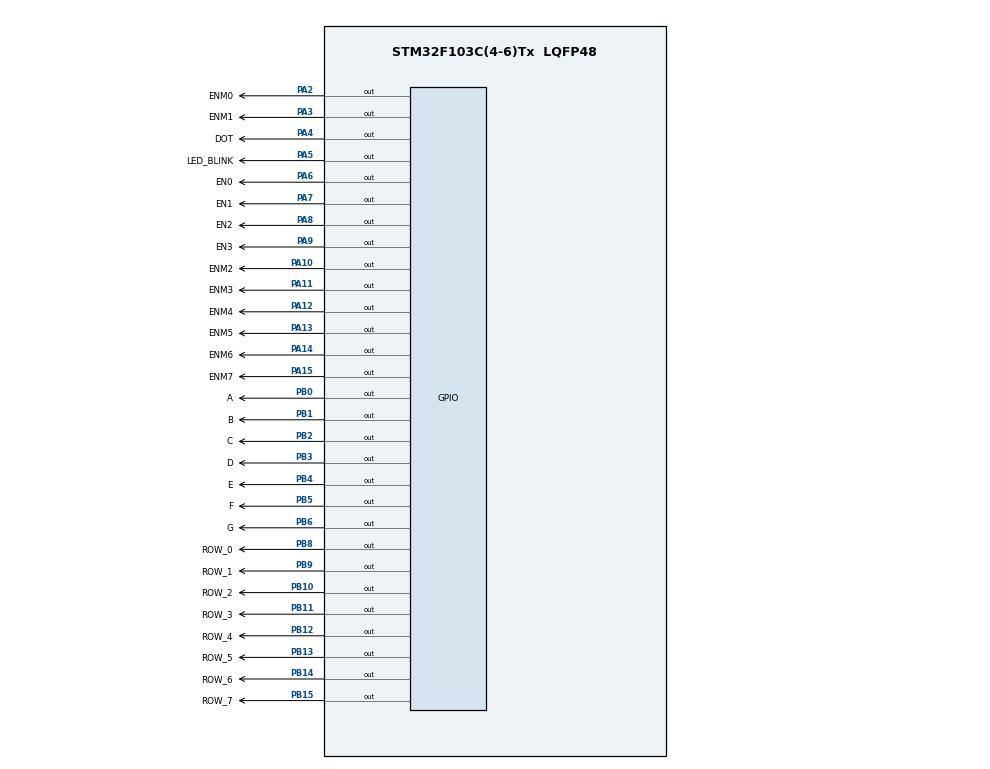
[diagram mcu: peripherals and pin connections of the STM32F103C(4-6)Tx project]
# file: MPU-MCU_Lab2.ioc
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Mcu.Family=STM32F1
Mcu.Name=STM32F103C(4-6)Tx
Mcu.Package=LQFP48
NVIC.PriorityGroup=NVIC_PRIORITYGROUP_4
NVIC.TIM2_IRQn=true\:0\:0\:false\:false\:true\:true\:true
PA10.GPIO_Label=ENM2
PA10.Signal=GPIO_Output
PA11.GPIO_Label=ENM3
PA11.Signal=GPIO_Output
PA12.GPIO_Label=ENM4
PA12.Signal=GPIO_Output
PA13.GPIO_Label=ENM5
PA13.Signal=GPIO_Output
PA14.GPIO_Label=ENM6
PA14.Signal=GPIO_Output
PA15.GPIO_Label=ENM7
PA15.Signal=GPIO_Output
PA2.GPIO_Label=ENM0
PA2.Signal=GPIO_Output
PA3.GPIO_Label=ENM1
PA3.Signal=GPIO_Output
PA4.GPIO_Label=DOT
PA4.Signal=GPIO_Output
PA5.GPIO_Label=LED_BLINK
PA5.Signal=GPIO_Output
PA6.GPIO_Label=EN0
PA6.Signal=GPIO_Output
PA7.GPIO_Label=EN1
PA7.Signal=GPIO_Output
PA8.GPIO_Label=EN2
PA8.Signal=GPIO_Output
PA9.GPIO_Label=EN3
PA9.Signal=GPIO_Output
PB0.GPIO_Label=A
PB0.Signal=GPIO_Output
PB1.GPIO_Label=B
PB1.Signal=GPIO_Output
PB10.GPIO_Label=ROW_2
PB10.Signal=GPIO_Output
PB11.GPIO_Label=ROW_3
PB11.Signal=GPIO_Output
PB12.GPIO_Label=ROW_4
PB12.Signal=GPIO_Output
PB13.GPIO_Label=ROW_5
PB13.Signal=GPIO_Output
PB14.GPIO_Label=ROW_6
PB14.Signal=GPIO_Output
PB15.GPIO_Label=ROW_7
PB15.Signal=GPIO_Output
PB2.GPIO_Label=C
PB2.Signal=GPIO_Output
PB3.GPIO_Label=D
PB3.Signal=GPIO_Output
PB4.GPIO_Label=E
PB4.Signal=GPIO_Output
PB5.GPIO_Label=F
PB5.Signal=GPIO_Output
PB6.GPIO_Label=G
PB6.Signal=GPIO_Output
PB8.GPIO_Label=ROW_0
PB8.Signal=GPIO_Output
PB9.GPIO_Label=ROW_1
PB9.Signal=GPIO_Output
ProjectManager.HeapSize=0x200
ProjectManager.StackSize=0x400
ProjectManager.TargetToolchain=STM32CubeIDE
RCC.APB1Freq_Value=8000000
RCC.APB2Freq_Value=8000000
TIM2.Period=9
TIM2.Prescaler=7999
VP_SYS_VS_ND.Mode=No_Debug
VP_TIM2_VS_ClockSourceINT.Mode=Internal
board=custom

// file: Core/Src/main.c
/* USER CODE BEGIN Header */
/**
  ******************************************************************************
  * @file           : main.c
  * @brief          : Main program body
  ******************************************************************************
  * @attention
  *
  * <h2><center>&copy; Copyright (c) 2025 STMicroelectronics.
  * All rights reserved.</center></h2>
  *
  * This software component is licensed by ST under BSD 3-Clause license,
  * the "License"; You may not use this file except in compliance with the
  * License. You may obtain a copy of the License at:
  *                        opensource.org/licenses/BSD-3-Clause
  *
  ******************************************************************************
  */
/* USER CODE END Header */
#include "main.h"

/* USER CODE BEGIN Includes */
#include "software_timer.h"
/* USER CODE END Includes */

TIM_HandleTypeDef htim2;

/* USER CODE BEGIN PV */
int hour = 15, minute = 8, second = 55;
int index_led = 0;
const int MAX_LED = 4;
int  led_buffer[4] = {1,2,3,4};

const int MAX_LED_MATRIX = 8;
const int SIZEOF_MATRIX_BUFFER = 12;
int index_led_matrix = 0;
uint8_t matrix_buffer[12] = { 0x18, 0x24, 0x42, 0x42, 0x7E, 0x42, 0x42, 0x42, 0x00, 0x00, 0x00, 0x00 };
/* USER CODE END PV */

void SystemClock_Config(void);
static void MX_GPIO_Init(void);
static void MX_TIM2_Init(void);

/* USER CODE BEGIN 0 */
void updateClockBuffer(){
	led_buffer[0] = hour / 10;
	led_buffer[1] = hour % 10;
	led_buffer[2] = minute / 10;
	led_buffer[3] = minute % 10;
}

void updateClockTime(){
	if (second >= 60){
		second = 0;
		minute++;
	}
	if (minute >= 60){
		minute = 0;
		hour++;
	}
	if (hour >= 24){
		hour = 0;
	}
}

void display7SEG(int num){
    switch(num){
    case 0:
        HAL_GPIO_WritePin(GPIOB, A_Pin, GPIO_PIN_RESET);
        HAL_GPIO_WritePin(GPIOB, B_Pin, GPIO_PIN_RESET);
        HAL_GPIO_WritePin(GPIOB, C_Pin, GPIO_PIN_RESET);
        HAL_GPIO_WritePin(GPIOB, D_Pin, GPIO_PIN_RESET);
        HAL_GPIO_WritePin(GPIOB, E_Pin, GPIO_PIN_RESET);
        HAL_GPIO_WritePin(GPIOB, F_Pin, GPIO_PIN_RESET);
        HAL_GPIO_WritePin(GPIOB, G_Pin, GPIO_PIN_SET);
        break;
    case 1:
        HAL_GPIO_WritePin(GPIOB, B_Pin, GPIO_PIN_RESET);
        HAL_GPIO_WritePin(GPIOB, C_Pin, GPIO_PIN_RESET);
        HAL_GPIO_WritePin(GPIOB, A_Pin, GPIO_PIN_SET);
        HAL_GPIO_WritePin(GPIOB, D_Pin, GPIO_PIN_SET);
        HAL_GPIO_WritePin(GPIOB, E_Pin, GPIO_PIN_SET);
        HAL_GPIO_WritePin(GPIOB, F_Pin, GPIO_PIN_SET);
        HAL_GPIO_WritePin(GPIOB, G_Pin, GPIO_PIN_SET);
        break;
    case 2:
        HAL_GPIO_WritePin(GPIOB, A_Pin, GPIO_PIN_RESET);
        HAL_GPIO_WritePin(GPIOB, B_Pin, GPIO_PIN_RESET);
        HAL_GPIO_WritePin(GPIOB, D_Pin, GPIO_PIN_RESET);
        HAL_GPIO_WritePin(GPIOB, E_Pin, GPIO_PIN_RESET);
        HAL_GPIO_WritePin(GPIOB, G_Pin, GPIO_PIN_RESET);
        HAL_GPIO_WritePin(GPIOB, C_Pin, GPIO_PIN_SET);
        HAL_GPIO_WritePin(GPIOB, F_Pin, GPIO_PIN_SET);
        break;
    case 3:
        HAL_GPIO_WritePin(GPIOB, A_Pin, GPIO_PIN_RESET);
        HAL_GPIO_WritePin(GPIOB, B_Pin, GPIO_PIN_RESET);
        HAL_GPIO_WritePin(GPIOB, C_Pin, GPIO_PIN_RESET);
        HAL_GPIO_WritePin(GPIOB, D_Pin, GPIO_PIN_RESET);
        HAL_GPIO_WritePin(GPIOB, G_Pin, GPIO_PIN_RESET);
        HAL_GPIO_WritePin(GPIOB, E_Pin, GPIO_PIN_SET);
        HAL_GPIO_WritePin(GPIOB, F_Pin, GPIO_PIN_SET);
        break;
    case 4:
        HAL_GPIO_WritePin(GPIOB, B_Pin, GPIO_PIN_RESET);
        HAL_GPIO_WritePin(GPIOB, C_Pin, GPIO_PIN_RESET);
        HAL_GPIO_WritePin(GPIOB, F_Pin, GPIO_PIN_RESET);
        HAL_GPIO_WritePin(GPIOB, G_Pin, GPIO_PIN_RESET);
        HAL_GPIO_WritePin(GPIOB, A_Pin, GPIO_PIN_SET);
        HAL_GPIO_WritePin(GPIOB, D_Pin, GPIO_PIN_SET);
        HAL_GPIO_WritePin(GPIOB, E_Pin, GPIO_PIN_SET);
        break;
    case 5:
        HAL_GPIO_WritePin(GPIOB, A_Pin, GPIO_PIN_RESET);
        HAL_GPIO_WritePin(GPIOB, C_Pin, GPIO_PIN_RESET);
        HAL_GPIO_WritePin(GPIOB, D_Pin, GPIO_PIN_RESET);
        HAL_GPIO_WritePin(GPIOB, F_Pin, GPIO_PIN_RESET);
        HAL_GPIO_WritePin(GPIOB, G_Pin, GPIO_PIN_RESET);
        HAL_GPIO_WritePin(GPIOB, B_Pin, GPIO_PIN_SET);
        HAL_GPIO_WritePin(GPIOB, E_Pin, GPIO_PIN_SET);
        break;
    case 6:
        HAL_GPIO_WritePin(GPIOB, A_Pin, GPIO_PIN_RESET);
        HAL_GPIO_WritePin(GPIOB, C_Pin, GPIO_PIN_RESET);
        HAL_GPIO_WritePin(GPIOB, D_Pin, GPIO_PIN_RESET);
        HAL_GPIO_WritePin(GPIOB, E_Pin, GPIO_PIN_RESET);
        HAL_GPIO_WritePin(GPIOB, F_Pin, GPIO_PIN_RESET);
        HAL_GPIO_WritePin(GPIOB, G_Pin, GPIO_PIN_RESET);
        HAL_GPIO_WritePin(GPIOB, B_Pin, GPIO_PIN_SET);
        break;
    case 7:
        HAL_GPIO_WritePin(GPIOB, A_Pin, GPIO_PIN_RESET);
        HAL_GPIO_WritePin(GPIOB, B_Pin, GPIO_PIN_RESET);
        HAL_GPIO_WritePin(GPIOB, C_Pin, GPIO_PIN_RESET);
        HAL_GPIO_WritePin(GPIOB, D_Pin, GPIO_PIN_SET);
        HAL_GPIO_WritePin(GPIOB, E_Pin, GPIO_PIN_SET);
        HAL_GPIO_WritePin(GPIOB, F_Pin, GPIO_PIN_SET);
        HAL_GPIO_WritePin(GPIOB, G_Pin, GPIO_PIN_SET);
        break;
    case 8:
        HAL_GPIO_WritePin(GPIOB, A_Pin, GPIO_PIN_RESET);
        HAL_GPIO_WritePin(GPIOB, B_Pin, GPIO_PIN_RESET);
        HAL_GPIO_WritePin(GPIOB, C_Pin, GPIO_PIN_RESET);
        HAL_GPIO_WritePin(GPIOB, D_Pin, GPIO_PIN_RESET);
        HAL_GPIO_WritePin(GPIOB, E_Pin, GPIO_PIN_RESET);
        HAL_GPIO_WritePin(GPIOB, F_Pin, GPIO_PIN_RESET);
        HAL_GPIO_WritePin(GPIOB, G_Pin, GPIO_PIN_RESET);
        break;
    case 9:
        HAL_GPIO_WritePin(GPIOB, A_Pin, GPIO_PIN_RESET);
        HAL_GPIO_WritePin(GPIOB, B_Pin, GPIO_PIN_RESET);
        HAL_GPIO_WritePin(GPIOB, C_Pin, GPIO_PIN_RESET);
        HAL_GPIO_WritePin(GPIOB, D_Pin, GPIO_PIN_RESET);
        HAL_GPIO_WritePin(GPIOB, F_Pin, GPIO_PIN_RESET);
        HAL_GPIO_WritePin(GPIOB, G_Pin, GPIO_PIN_RESET);
        HAL_GPIO_WritePin(GPIOB, E_Pin, GPIO_PIN_SET);
        break;
    default:
        // Tắt hết khi không hợp lệ
        HAL_GPIO_WritePin(GPIOB, A_Pin, GPIO_PIN_SET);
        HAL_GPIO_WritePin(GPIOB, B_Pin, GPIO_PIN_SET);
        HAL_GPIO_WritePin(GPIOB, C_Pin, GPIO_PIN_SET);
        HAL_GPIO_WritePin(GPIOB, D_Pin, GPIO_PIN_SET);
        HAL_GPIO_WritePin(GPIOB, E_Pin, GPIO_PIN_SET);
        HAL_GPIO_WritePin(GPIOB, F_Pin, GPIO_PIN_SET);
        HAL_GPIO_WritePin(GPIOB, G_Pin, GPIO_PIN_SET);
        break;
    }
}

void setEN(int num){
	switch(num){
	case 0:
		HAL_GPIO_WritePin(GPIOA, EN1_Pin, GPIO_PIN_SET);
		HAL_GPIO_WritePin(GPIOA, EN2_Pin, GPIO_PIN_SET);
		HAL_GPIO_WritePin(GPIOA, EN3_Pin, GPIO_PIN_SET);
		HAL_GPIO_WritePin(GPIOA, EN0_Pin, GPIO_PIN_RESET);
		break;
	case 1:
		HAL_GPIO_WritePin(GPIOA, EN0_Pin, GPIO_PIN_SET);
		HAL_GPIO_WritePin(GPIOA, EN2_Pin, GPIO_PIN_SET);
		HAL_GPIO_WritePin(GPIOA, EN3_Pin, GPIO_PIN_SET);
		HAL_GPIO_WritePin(GPIOA, EN1_Pin, GPIO_PIN_RESET);
		break;
	case 2:
		HAL_GPIO_WritePin(GPIOA, EN0_Pin, GPIO_PIN_SET);
		HAL_GPIO_WritePin(GPIOA, EN1_Pin, GPIO_PIN_SET);
		HAL_GPIO_WritePin(GPIOA, EN3_Pin, GPIO_PIN_SET);
		HAL_GPIO_WritePin(GPIOA, EN2_Pin, GPIO_PIN_RESET);
		break;
	case 3:
		HAL_GPIO_WritePin(GPIOA, EN0_Pin, GPIO_PIN_SET);
		HAL_GPIO_WritePin(GPIOA, EN1_Pin, GPIO_PIN_SET);
		HAL_GPIO_WritePin(GPIOA, EN2_Pin, GPIO_PIN_SET);
		HAL_GPIO_WritePin(GPIOA, EN3_Pin, GPIO_PIN_RESET);
		break;
	default :
		HAL_GPIO_WritePin(GPIOA, EN0_Pin, GPIO_PIN_SET);
		HAL_GPIO_WritePin(GPIOA, EN1_Pin, GPIO_PIN_SET);
		HAL_GPIO_WritePin(GPIOA, EN2_Pin, GPIO_PIN_SET);
		HAL_GPIO_WritePin(GPIOA, EN3_Pin, GPIO_PIN_SET);
		break;
	}
}

void update7SEG(int index){
	switch(index){
	case 0:
		display7SEG(led_buffer[0]);
		setEN(0);
		break;
	case 1:
		display7SEG(led_buffer[1]);
		setEN(1);
		break;
	case 2:
		display7SEG(led_buffer[2]);
		setEN(2);
		break;
	case 3:
		display7SEG(led_buffer[3]);
		setEN(3);
		break;
	default :
		display7SEG(led_buffer[MAX_LED]);
		setEN(MAX_LED);
		break;
	}
}

void displayLEDMatrix(int index){
	uint8_t value = matrix_buffer[index];
	// Quét từng hàng
	HAL_GPIO_WritePin(GPIOB, ROW_0_Pin, (value & (1<<0)) ? GPIO_PIN_SET : GPIO_PIN_RESET);
	HAL_GPIO_WritePin(GPIOB, ROW_1_Pin, (value & (1<<1)) ? GPIO_PIN_SET : GPIO_PIN_RESET);
	HAL_GPIO_WritePin(GPIOB, ROW_2_Pin, (value & (1<<2)) ? GPIO_PIN_SET : GPIO_PIN_RESET);
	HAL_GPIO_WritePin(GPIOB, ROW_3_Pin, (value & (1<<3)) ? GPIO_PIN_SET : GPIO_PIN_RESET);
	HAL_GPIO_WritePin(GPIOB, ROW_4_Pin, (value & (1<<4)) ? GPIO_PIN_SET : GPIO_PIN_RESET);
	HAL_GPIO_WritePin(GPIOB, ROW_5_Pin, (value & (1<<5)) ? GPIO_PIN_SET : GPIO_PIN_RESET);
	HAL_GPIO_WritePin(GPIOB, ROW_6_Pin, (value & (1<<6)) ? GPIO_PIN_SET : GPIO_PIN_RESET);
	HAL_GPIO_WritePin(GPIOB, ROW_7_Pin, (value & (1<<7)) ? GPIO_PIN_SET : GPIO_PIN_RESET);
}

void updateLEDMatrix(int index){
    HAL_GPIO_WritePin(GPIOA, ENM0_Pin|ENM1_Pin|ENM2_Pin|ENM3_Pin|ENM4_Pin|ENM5_Pin|ENM6_Pin|ENM7_Pin, GPIO_PIN_RESET);

    switch(index){
      case 0:
        HAL_GPIO_WritePin(GPIOA, ENM0_Pin, GPIO_PIN_SET);
        HAL_GPIO_WritePin(GPIOA, ENM1_Pin|ENM2_Pin|ENM3_Pin|ENM4_Pin|ENM5_Pin|ENM6_Pin|ENM7_Pin, GPIO_PIN_RESET);
        displayLEDMatrix(0);
        break;
      case 1:
        HAL_GPIO_WritePin(GPIOA, ENM1_Pin, GPIO_PIN_SET);
        HAL_GPIO_WritePin(GPIOA, ENM0_Pin|ENM2_Pin|ENM3_Pin|ENM4_Pin|ENM5_Pin|ENM6_Pin|ENM7_Pin, GPIO_PIN_RESET);
        displayLEDMatrix(1);
        break;
      case 2:
        HAL_GPIO_WritePin(GPIOA, ENM2_Pin, GPIO_PIN_SET);
        HAL_GPIO_WritePin(GPIOA, ENM0_Pin|ENM1_Pin|ENM3_Pin|ENM4_Pin|ENM5_Pin|ENM6_Pin|ENM7_Pin, GPIO_PIN_RESET);
        displayLEDMatrix(2);
        break;
      case 3:
        HAL_GPIO_WritePin(GPIOA, ENM3_Pin, GPIO_PIN_SET);
        HAL_GPIO_WritePin(GPIOA, ENM0_Pin|ENM1_Pin|ENM2_Pin|ENM4_Pin|ENM5_Pin|ENM6_Pin|ENM7_Pin, GPIO_PIN_RESET);
        displayLEDMatrix(3);
        break;
      case 4:
        HAL_GPIO_WritePin(GPIOA, ENM4_Pin, GPIO_PIN_SET);
        HAL_GPIO_WritePin(GPIOA, ENM0_Pin|ENM1_Pin|ENM2_Pin|ENM3_Pin|ENM5_Pin|ENM6_Pin|ENM7_Pin, GPIO_PIN_RESET);
        displayLEDMatrix(4);
        break;
      case 5:
        HAL_GPIO_WritePin(GPIOA, ENM5_Pin, GPIO_PIN_SET);
        HAL_GPIO_WritePin(GPIOA, ENM0_Pin|ENM1_Pin|ENM2_Pin|ENM3_Pin|ENM4_Pin|ENM6_Pin|ENM7_Pin, GPIO_PIN_RESET);
        displayLEDMatrix(5);
        break;
      case 6:
        HAL_GPIO_WritePin(GPIOA, ENM6_Pin, GPIO_PIN_SET);
        HAL_GPIO_WritePin(GPIOA, ENM0_Pin|ENM1_Pin|ENM2_Pin|ENM3_Pin|ENM4_Pin|ENM5_Pin|ENM7_Pin, GPIO_PIN_RESET);
        displayLEDMatrix(6);
        break;
      case 7:
        HAL_GPIO_WritePin(GPIOA, ENM7_Pin, GPIO_PIN_SET);
        HAL_GPIO_WritePin(GPIOA, ENM0_Pin|ENM1_Pin|ENM2_Pin|ENM3_Pin|ENM4_Pin|ENM5_Pin|ENM6_Pin, GPIO_PIN_RESET);
        displayLEDMatrix(7);
        break;
      default :
    	HAL_GPIO_WritePin(GPIOA, ENM0_Pin|ENM1_Pin|ENM2_Pin|ENM3_Pin|ENM4_Pin|ENM5_Pin|ENM6_Pin|ENM7_Pin, GPIO_PIN_RESET);
    	break;
    }
}

void shiftMatrixBuffer(){
	uint8_t  first = matrix_buffer[0];
	for (int i = 0; i < SIZEOF_MATRIX_BUFFER - 1; ++i){
		matrix_buffer[i] = matrix_buffer[i+1];
	}
	matrix_buffer[SIZEOF_MATRIX_BUFFER - 1] = first;
}

/* USER CODE END 0 */

int main(void)
{

  /* MCU Configuration--------------------------------------------------------*/

  /* Reset of all peripherals, Initializes the Flash interface and the Systick. */
  HAL_Init();

  /* Configure the system clock */
  SystemClock_Config();

  /* Initialize all configured peripherals */
  MX_GPIO_Init();
  MX_TIM2_Init();
  /* USER CODE BEGIN 2 */
  HAL_TIM_Base_Start_IT(&htim2);
  /* USER CODE END 2 */
  setTimers(1000);
  /* Infinite loop */
  /* USER CODE BEGIN WHILE */
  while (1)
  {
	  if (timer_flag[0] == 1){
		  second++;
		  HAL_GPIO_TogglePin(GPIOA, LED_BLINK_Pin);
		  HAL_GPIO_TogglePin(GPIOA, DOT_Pin);
		  updateClockTime();
		  updateClockBuffer();
		  setTimer(0,1000);
	  }

	  if (timer_flag[1] == 1){
		  update7SEG(index_led++);
		  index_led = index_led % MAX_LED;
		  setTimer(1,250);
	  }

	  if (timer_flag[2] == 1){
		  updateLEDMatrix(index_led_matrix++);
		  index_led_matrix %= 8;
		  setTimer(2,20);
	  }

	  if (timer_flag[3] == 1){
		  shiftMatrixBuffer();
		  setTimer(3,160);
	  }
    /* USER CODE END WHILE */

  }
}

void SystemClock_Config(void)
{
  RCC_OscInitTypeDef RCC_OscInitStruct = {0};
  RCC_ClkInitTypeDef RCC_ClkInitStruct = {0};

  /** Initializes the RCC Oscillators according to the specified parameters
  * in the RCC_OscInitTypeDef structure.
  */
  RCC_OscInitStruct.OscillatorType = RCC_OSCILLATORTYPE_HSI;
  RCC_OscInitStruct.HSIState = RCC_HSI_ON;
  RCC_OscInitStruct.HSICalibrationValue = RCC_HSICALIBRATION_DEFAULT;
  RCC_OscInitStruct.PLL.PLLState = RCC_PLL_NONE;
  if (HAL_RCC_OscConfig(&RCC_OscInitStruct) != HAL_OK)
  {
    Error_Handler();
  }
  /** Initializes the CPU, AHB and APB buses clocks
  */
  RCC_ClkInitStruct.ClockType = RCC_CLOCKTYPE_HCLK|RCC_CLOCKTYPE_SYSCLK
                              |RCC_CLOCKTYPE_PCLK1|RCC_CLOCKTYPE_PCLK2;
  RCC_ClkInitStruct.SYSCLKSource = RCC_SYSCLKSOURCE_HSI;
  RCC_ClkInitStruct.AHBCLKDivider = RCC_SYSCLK_DIV1;
  RCC_ClkInitStruct.APB1CLKDivider = RCC_HCLK_DIV1;
  RCC_ClkInitStruct.APB2CLKDivider = RCC_HCLK_DIV1;

  if (HAL_RCC_ClockConfig(&RCC_ClkInitStruct, FLASH_LATENCY_0) != HAL_OK)
  {
    Error_Handler();
  }
}

static void MX_TIM2_Init(void)
{

  TIM_ClockConfigTypeDef sClockSourceConfig = {0};
  TIM_MasterConfigTypeDef sMasterConfig = {0};

  htim2.Instance = TIM2;
  htim2.Init.Prescaler = 7999;
  htim2.Init.CounterMode = TIM_COUNTERMODE_UP;
  htim2.Init.Period = 9;
  htim2.Init.ClockDivision = TIM_CLOCKDIVISION_DIV1;
  htim2.Init.AutoReloadPreload = TIM_AUTORELOAD_PRELOAD_DISABLE;
  if (HAL_TIM_Base_Init(&htim2) != HAL_OK)
  {
    Error_Handler();
  }
  sClockSourceConfig.ClockSource = TIM_CLOCKSOURCE_INTERNAL;
  if (HAL_TIM_ConfigClockSource(&htim2, &sClockSourceConfig) != HAL_OK)
  {
    Error_Handler();
  }
  sMasterConfig.MasterOutputTrigger = TIM_TRGO_RESET;
  sMasterConfig.MasterSlaveMode = TIM_MASTERSLAVEMODE_DISABLE;
  if (HAL_TIMEx_MasterConfigSynchronization(&htim2, &sMasterConfig) != HAL_OK)
  {
    Error_Handler();
  }

}

static void MX_GPIO_Init(void)
{
  GPIO_InitTypeDef GPIO_InitStruct = {0};

  /* GPIO Ports Clock Enable */
  __HAL_RCC_GPIOA_CLK_ENABLE();
  __HAL_RCC_GPIOB_CLK_ENABLE();

  /*Configure GPIO pin Output Level */
  HAL_GPIO_WritePin(GPIOA, ENM0_Pin|ENM1_Pin|DOT_Pin|LED_BLINK_Pin
                          |EN0_Pin|EN1_Pin|EN2_Pin|EN3_Pin
                          |ENM2_Pin|ENM3_Pin|ENM4_Pin|ENM5_Pin
                          |ENM6_Pin|ENM7_Pin, GPIO_PIN_SET);

  /*Configure GPIO pin Output Level */
  HAL_GPIO_WritePin(GPIOB, A_Pin|B_Pin|C_Pin|ROW_2_Pin
                          |ROW_3_Pin|ROW_4_Pin|ROW_5_Pin|ROW_6_Pin
                          |ROW_7_Pin|D_Pin|E_Pin|F_Pin
                          |G_Pin|ROW_0_Pin|ROW_1_Pin, GPIO_PIN_SET);

  /*Configure GPIO pins : ENM0_Pin ENM1_Pin DOT_Pin LED_BLINK_Pin
                           EN0_Pin EN1_Pin EN2_Pin EN3_Pin
                           ENM2_Pin ENM3_Pin ENM4_Pin ENM5_Pin
                           ENM6_Pin ENM7_Pin */
  GPIO_InitStruct.Pin = ENM0_Pin|ENM1_Pin|DOT_Pin|LED_BLINK_Pin
                          |EN0_Pin|EN1_Pin|EN2_Pin|EN3_Pin
                          |ENM2_Pin|ENM3_Pin|ENM4_Pin|ENM5_Pin
                          |ENM6_Pin|ENM7_Pin;
  GPIO_InitStruct.Mode = GPIO_MODE_OUTPUT_PP;
  GPIO_InitStruct.Pull = GPIO_NOPULL;
  GPIO_InitStruct.Speed = GPIO_SPEED_FREQ_LOW;
  HAL_GPIO_Init(GPIOA, &GPIO_InitStruct);

  /*Configure GPIO pins : A_Pin B_Pin C_Pin ROW_2_Pin
                           ROW_3_Pin ROW_4_Pin ROW_5_Pin ROW_6_Pin
                           ROW_7_Pin D_Pin E_Pin F_Pin
                           G_Pin ROW_0_Pin ROW_1_Pin */
  GPIO_InitStruct.Pin = A_Pin|B_Pin|C_Pin|ROW_2_Pin
                          |ROW_3_Pin|ROW_4_Pin|ROW_5_Pin|ROW_6_Pin
                          |ROW_7_Pin|D_Pin|E_Pin|F_Pin
                          |G_Pin|ROW_0_Pin|ROW_1_Pin;
  GPIO_InitStruct.Mode = GPIO_MODE_OUTPUT_PP;
  GPIO_InitStruct.Pull = GPIO_NOPULL;
  GPIO_InitStruct.Speed = GPIO_SPEED_FREQ_LOW;
  HAL_GPIO_Init(GPIOB, &GPIO_InitStruct);

}

/* USER CODE BEGIN 4 */

void HAL_TIM_PeriodElapsedCallback(TIM_HandleTypeDef *htim){
	timer_run();
}
/* USER CODE END 4 */

void Error_Handler(void)
{
  __disable_irq();
  while (1)
  {
  }
}

/************************ (C) COPYRIGHT STMicroelectronics *****END OF FILE****/
